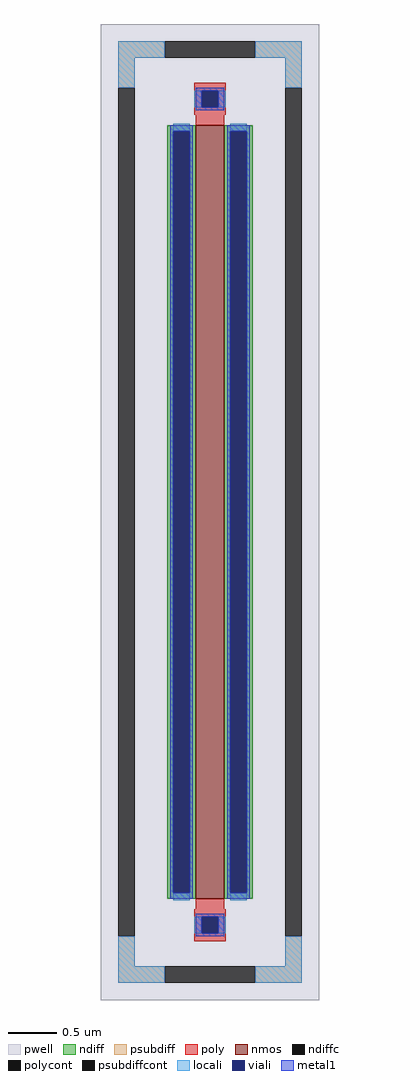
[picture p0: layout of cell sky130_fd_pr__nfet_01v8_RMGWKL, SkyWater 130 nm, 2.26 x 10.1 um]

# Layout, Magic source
magic
tech sky130A
magscale 1 2
<< pwell >>
rect -226 -1010 226 1010
<< nmos >>
rect -30 -800 30 800
<< ndiff >>
rect -88 788 -30 800
rect -88 -788 -76 788
rect -42 -788 -30 788
rect -88 -800 -30 -788
rect 30 788 88 800
rect 30 -788 42 788
rect 76 -788 88 788
rect 30 -800 88 -788
<< ndiffc >>
rect -76 -788 -42 788
rect 42 -788 76 788
<< psubdiff >>
rect -190 940 -94 974
rect 94 940 190 974
rect -190 878 -156 940
rect 156 878 190 940
rect -190 -940 -156 -878
rect 156 -940 190 -878
rect -190 -974 -94 -940
rect 94 -974 190 -940
<< psubdiffcont >>
rect -94 940 94 974
rect -190 -878 -156 878
rect 156 -878 190 878
rect -94 -974 94 -940
<< poly >>
rect -33 872 33 888
rect -33 838 -17 872
rect 17 838 33 872
rect -33 822 33 838
rect -30 800 30 822
rect -30 -822 30 -800
rect -33 -838 33 -822
rect -33 -872 -17 -838
rect 17 -872 33 -838
rect -33 -888 33 -872
<< polycont >>
rect -17 838 17 872
rect -17 -872 17 -838
<< locali >>
rect -190 940 -94 974
rect 94 940 190 974
rect -190 878 -156 940
rect 156 878 190 940
rect -33 838 -17 872
rect 17 838 33 872
rect -76 788 -42 804
rect -76 -804 -42 -788
rect 42 788 76 804
rect 42 -804 76 -788
rect -33 -872 -17 -838
rect 17 -872 33 -838
rect -190 -940 -156 -878
rect 156 -940 190 -878
rect -190 -974 -94 -940
rect 94 -974 190 -940
<< viali >>
rect -17 838 17 872
rect -76 -788 -42 788
rect 42 -788 76 788
rect -17 -872 17 -838
<< metal1 >>
rect -29 872 29 878
rect -29 838 -17 872
rect 17 838 29 872
rect -29 832 29 838
rect -82 788 -36 800
rect -82 -788 -76 788
rect -42 -788 -36 788
rect -82 -800 -36 -788
rect 36 788 82 800
rect 36 -788 42 788
rect 76 -788 82 788
rect 36 -800 82 -788
rect -29 -838 29 -832
rect -29 -872 -17 -838
rect 17 -872 29 -838
rect -29 -878 29 -872
<< properties >>
string FIXED_BBOX -173 -957 173 957
string gencell sky130_fd_pr__nfet_01v8
string library sky130
string parameters w 8.0 l 0.3 m 1 nf 1 diffcov 100 polycov 100 guard 1 glc 1 grc 1 gtc 1 gbc 1 tbcov 100 rlcov 100 topc 1 botc 1 poverlap 0 doverlap 1 lmin 0.15 wmin 0.42 compatible {sky130_fd_pr__nfet_01v8 sky130_fd_pr__nfet_01v8_lvt  sky130_fd_bs_flash__special_sonosfet_star  sky130_fd_pr__nfet_g5v0d10v5 sky130_fd_pr__nfet_05v0_nvt  sky130_fd_pr__nfet_03v3_nvt} full_metal 1 viasrc 100 viadrn 100 viagate 100 viagb 0 viagr 0 viagl 0 viagt 0
<< end >>
